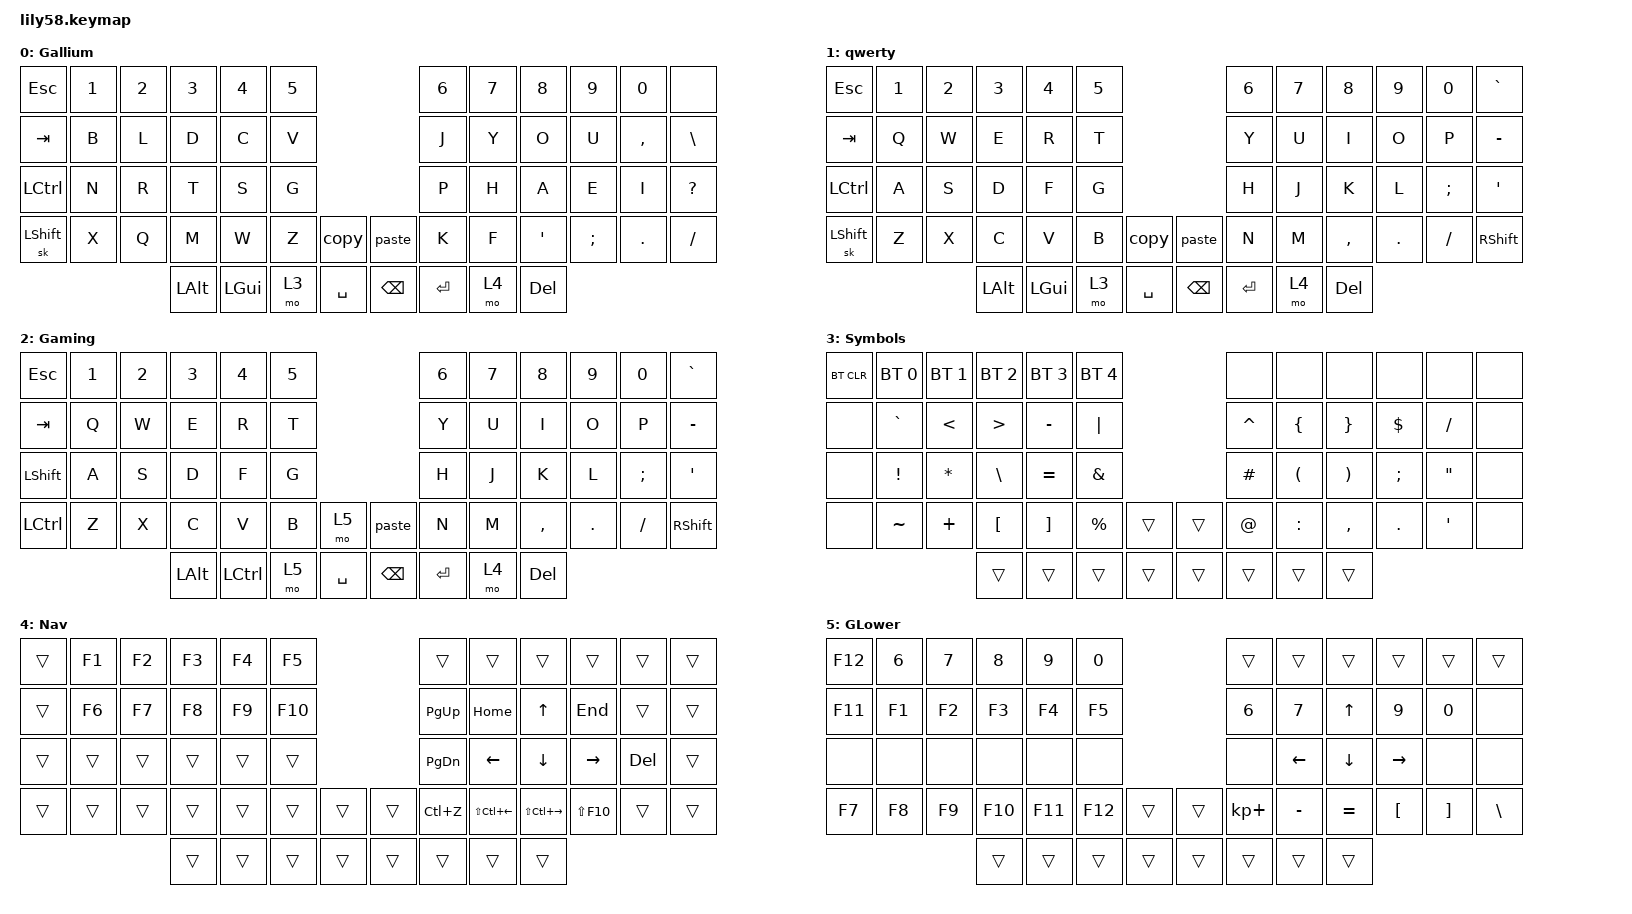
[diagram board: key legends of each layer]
/*
 * Copyright (c) 2020 The ZMK Contributors
 *
 * SPDX-License-Identifier: MIT
 */

#include <behaviors.dtsi>
#include <dt-bindings/zmk/bt.h>
#include <dt-bindings/zmk/keys.h>

&sk { quick-release; };

/ {
    combos {
        compatible = "zmk,combos";

        layerSwap0 {
            bindings = <&tog 1>;
            key-positions = <42 43 0>;
            layers = <0 1 2>;
        };

        layerSwap1 {
            bindings = <&tog 2>;
            key-positions = <42 43 1>;
            layers = <0 1 2>;
        };
    };

    macros {
        paste: paste {
            compatible = "zmk,behavior-macro";
            #binding-cells = <0>;
            bindings = <&kp LC(V)>, <&macro_press>;

            label = "PASTE";
        };

        copy: copy {
            compatible = "zmk,behavior-macro";
            #binding-cells = <0>;
            bindings = <&kp LC(C)>, <&macro_press>;

            label = "COPY";
        };
    };

    keymap {
        compatible = "zmk,keymap";

        default_layer {
            display-name = "Gallium";
            bindings = <
&kp ESC    &kp N1  &kp N2  &kp N3    &kp N4    &kp N5                              &kp N6      &kp N7  &kp N8      &kp N9         &kp N0      &none
&kp TAB    &kp B   &kp L   &kp D     &kp C     &kp V                               &kp J       &kp Y   &kp O       &kp U          &kp COMMA   &kp BACKSLASH
&kp LCTRL  &kp N   &kp R   &kp T     &kp S     &kp G                               &kp P       &kp H   &kp A       &kp E          &kp I       &kp QUESTION
&sk LSHFT  &kp X   &kp Q   &kp M     &kp W     &kp Z   &copy        &paste         &kp K       &kp F   &kp SQT     &kp SEMICOLON  &kp PERIOD  &kp SLASH
                           &kp LALT  &kp LGUI  &mo 3   &kp SPACE    &kp BACKSPACE  &kp RETURN  &mo 4   &kp DELETE
            >;
        };

        first_layer {
            display-name = "qwerty";
            bindings = <
&kp ESC    &kp N1  &kp N2  &kp N3    &kp N4    &kp N5                              &kp N6      &kp N7  &kp N8      &kp N9   &kp N0    &kp GRAVE
&kp TAB    &kp Q   &kp W   &kp E     &kp R     &kp T                               &kp Y       &kp U   &kp I       &kp O    &kp P     &kp MINUS
&kp LCTRL  &kp A   &kp S   &kp D     &kp F     &kp G                               &kp H       &kp J   &kp K       &kp L    &kp SEMI  &kp SQT
&sk LSHFT  &kp Z   &kp X   &kp C     &kp V     &kp B   &copy        &paste         &kp N       &kp M   &kp COMMA   &kp DOT  &kp FSLH  &kp RSHFT
                           &kp LALT  &kp LGUI  &mo 3   &kp SPACE    &kp BACKSPACE  &kp RETURN  &mo 4   &kp DELETE
            >;
        };

        second_layer {
            display-name = "Gaming";
            bindings = <
&kp ESC         &kp N1  &kp N2  &kp N3    &kp N4     &kp N5                              &kp N6      &kp N7  &kp N8      &kp N9   &kp N0    &kp GRAVE
&kp TAB         &kp Q   &kp W   &kp E     &kp R      &kp T                               &kp Y       &kp U   &kp I       &kp O    &kp P     &kp MINUS
&kp LEFT_SHIFT  &kp A   &kp S   &kp D     &kp F      &kp G                               &kp H       &kp J   &kp K       &kp L    &kp SEMI  &kp SQT
&kp LCTRL       &kp Z   &kp X   &kp C     &kp V      &kp B   &mo 5        &paste         &kp N       &kp M   &kp COMMA   &kp DOT  &kp FSLH  &kp RSHFT
                                &kp LALT  &kp LCTRL  &mo 5   &kp SPACE    &kp BACKSPACE  &kp RETURN  &mo 4   &kp DELETE
            >;
        };

        symbol_layer {
            display-name = "Symbols";
            bindings = <
&bt BT_CLR  &bt BT_SEL 0     &bt BT_SEL 1   &bt BT_SEL 2      &bt BT_SEL 3       &bt BT_SEL 4                     &none        &none                 &none                  &none          &none              &none
&none       &kp GRAVE        &kp LESS_THAN  &kp GREATER_THAN  &kp MINUS          &kp PIPE                         &kp CARET    &kp LEFT_BRACE        &kp RIGHT_BRACE        &kp DOLLAR     &kp SLASH          &none
&none       &kp EXCLAMATION  &kp ASTERISK   &kp BACKSLASH     &kp EQUAL          &kp AMPERSAND                    &kp POUND    &kp LEFT_PARENTHESIS  &kp RIGHT_PARENTHESIS  &kp SEMICOLON  &kp DOUBLE_QUOTES  &none
&none       &kp TILDE        &kp PLUS       &kp LEFT_BRACKET  &kp RIGHT_BRACKET  &kp PERCENT    &trans    &trans  &kp AT_SIGN  &kp COLON             &kp COMMA              &kp PERIOD     &kp SINGLE_QUOTE   &none
                                            &trans            &trans             &trans         &trans    &trans  &trans       &trans                &trans
            >;
        };

        nav_layer {
            display-name = "Nav";
            bindings = <
&trans  &kp F1  &kp F2  &kp F3  &kp F4  &kp F5                       &trans         &trans                  &trans                   &trans           &trans      &trans
&trans  &kp F6  &kp F7  &kp F8  &kp F9  &kp F10                      &kp PAGE_UP    &kp HOME                &kp UP_ARROW             &kp END          &trans      &trans
&trans  &trans  &trans  &trans  &trans  &trans                       &kp PAGE_DOWN  &kp LEFT_ARROW          &kp DOWN_ARROW           &kp RIGHT_ARROW  &kp DELETE  &trans
&trans  &trans  &trans  &trans  &trans  &trans   &trans    &trans    &kp LC(Z)      &kp LS(LC(LEFT_ARROW))  &kp LS(LC(RIGHT_ARROW))  &kp LS(F10)      &trans      &trans
                        &trans  &trans  &trans   &trans    &trans    &trans         &trans                  &trans
            >;
        };

        gLower_layer {
            display-name = "GLower";
            bindings = <
&kp F12  &kp NUMBER_6  &kp NUMBER_7  &kp NUMBER_8  &kp NUMBER_9  &kp NUMBER_0                    &trans       &trans     &trans     &trans     &trans    &trans
&kp F11  &kp F1        &kp F2        &kp F3        &kp F4        &kp F5                          &kp N6       &kp N7     &kp UP     &kp N9     &kp N0    &none
&none    &none         &none         &none         &none         &none                           &none        &kp LEFT   &kp DOWN   &kp RIGHT  &none     &none
&kp F7   &kp F8        &kp F9        &kp F10       &kp F11       &kp F12       &trans    &trans  &kp KP_PLUS  &kp MINUS  &kp EQUAL  &kp LBKT   &kp RBKT  &kp BSLH
                                     &trans        &trans        &trans        &trans    &trans  &trans       &trans     &trans
            >;
        };
    };
};
